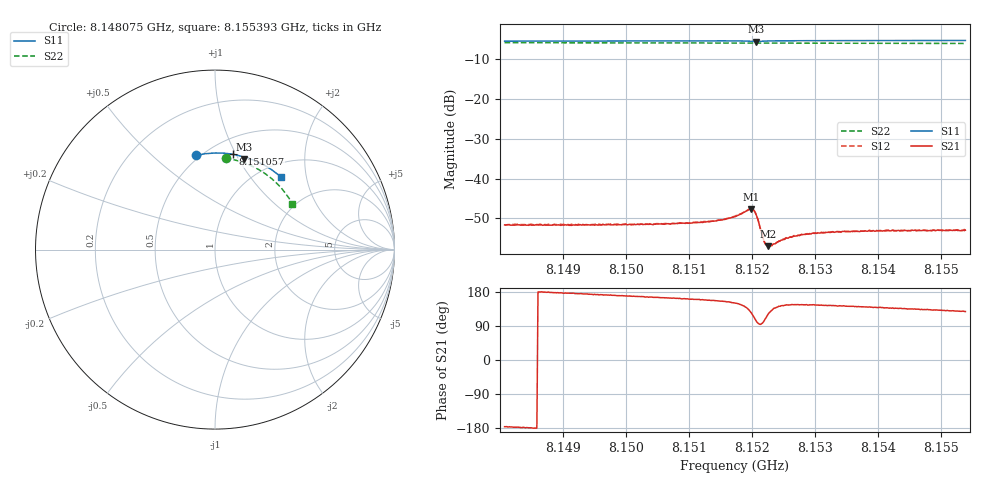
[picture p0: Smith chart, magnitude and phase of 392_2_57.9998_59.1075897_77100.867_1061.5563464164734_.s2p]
#  HZ  S  RI  R  50.00
! Rohde & Schwarz Vector Network Analyzer
! Rohde-Schwarz,ZNB20-2Port,1311601062101988,3.16
! Created: UTC 3/21/2024, 1:07:53 AM
! freq[Hz]  re:S11  im:S11  re:S21  im:S21  re:S12  im:S12  re:S22  im:S22
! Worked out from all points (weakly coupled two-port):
!   401 points, 8.148075 GHz to 8.155393 GHz, reference 50 ohm
!   highest |S21| = -47.68 dB at 8.15199 GHz (marker M1); lowest = -56.9 dB at 8.152264 GHz (marker M2)
!   lowest |S11| = -5.5 dB at 8.152063 GHz (marker M3), VSWR 3.25, Z = 37.7 + j52.7 ohm
!   |S11| at or under -10 dB: nowhere
!   |S22| runs from -6.0 to -5.8 dB; largest |S21 - S12| = 0.00012
!   S11 on the Smith chart (normalised r, x): 8.148075 GHz: 0.48, +0.70; 8.151057 GHz: 0.65, +0.97; 8.155393 GHz: 1.23, +1.43
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8.1480747e9  -0.1069 0.5246  -0.00262 -0.000181  -0.00263 -0.000131  0.0588 0.5088
8.1493005e9  -0.0221 0.5371  -0.0026 0.000228  -0.00265 0.000293  0.1365 0.492
8.1505263e9  0.0631 0.5359  -0.0026 0.000706  -0.00262 0.000736  0.2101 0.4636
8.1510568e9  0.0999 0.5311  -0.00262 0.000918  -0.00264 0.000973  0.2402 0.4478
8.1514044e9  0.1243 0.5263  -0.0027 0.00115  -0.00269 0.00121  0.2594 0.4364
8.1517338e9  0.148 0.5194  -0.00289 0.00166  -0.0029 0.00169  0.2768 0.4248
8.151935e9  0.1624 0.5108  -0.00285 0.00282  -0.00284 0.00287  0.2873 0.4172
8.1519899e9  0.1645 0.5066  -0.00238 0.00338  -0.00236 0.00345  0.29 0.415
8.1520265e9  0.1641 0.504  -0.00174 0.00364  -0.00171 0.0037  0.2916 0.4136
8.1520631e9  0.1626 0.5032  -0.00094 0.00351  -0.000936 0.00354  0.2933 0.4122
8.1520997e9  0.1619 0.5045  -0.000363 0.00301  -0.000327 0.00302  0.2952 0.4109
8.1521546e9  0.1638 0.5078  -0.0002 0.00206  -0.000173 0.0021  0.2978 0.4091
8.1521911e9  0.1666 0.5092  -0.000343 0.00164  -0.000311 0.00164  0.2999 0.4078
8.1522277e9  0.1695 0.5099  -0.00055 0.00136  -0.000507 0.00139  0.3018 0.4065
8.1522643e9  0.1728 0.51  -0.000754 0.0012  -0.000758 0.00123  0.3036 0.4051
8.1523192e9  0.1773 0.5098  -0.000973 0.00109  -0.000942 0.00108  0.3062 0.4029
8.1525753e9  0.1966 0.5051  -0.00146 0.00103  -0.00148 0.00102  0.319 0.3926
8.1528315e9  0.214 0.4988  -0.00165 0.00112  -0.00164 0.00117  0.331 0.3818
8.1529595e9  0.2226 0.4954  -0.0017 0.00116  -0.00166 0.0012  0.3371 0.3763
8.1534718e9  0.255 0.4805  -0.00173 0.00133  -0.00171 0.00135  0.3598 0.3533
8.1541853e9  0.2981 0.4562  -0.00162 0.00152  -0.0016 0.00156  0.389 0.3192
8.1553928e9  0.3651 0.4068  -0.00138 0.00178  -0.00139 0.00175  0.4304 0.2563
